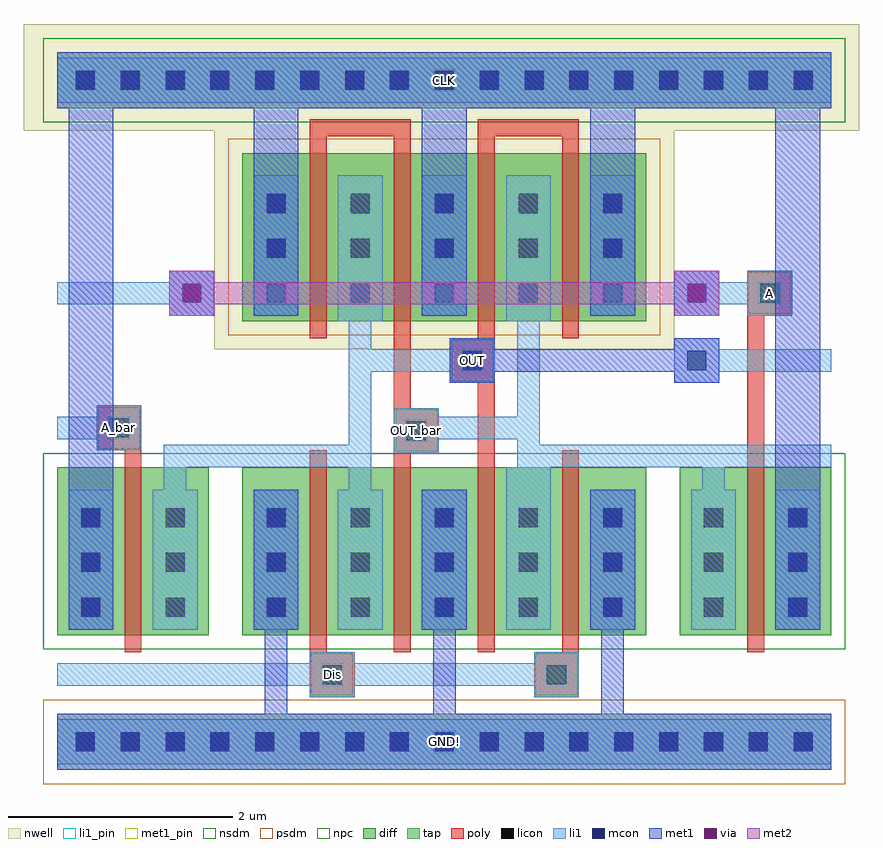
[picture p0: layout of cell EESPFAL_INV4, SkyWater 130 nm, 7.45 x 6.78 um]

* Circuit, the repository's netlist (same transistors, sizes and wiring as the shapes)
* NGSPICE file created from EESPFAL_INV4.ext - technology: sky130A

.subckt EESPFAL_INV4 OUT_bar A A_bar Dis OUT GND CLK
X0 OUT A_bar CLK GND sky130_fd_pr__nfet_01v8 ad=1.8e+12p pd=8.4e+06u as=5.25e+12p ps=2.32e+07u w=1.5e+06u l=150000u
X1 CLK OUT OUT_bar CLK sky130_fd_pr__pfet_01v8 ad=2.7e+12p pd=1.26e+07u as=9e+11p ps=4.2e+06u w=1.5e+06u l=150000u M=2
X2 GND Dis OUT_bar GND sky130_fd_pr__nfet_01v8 ad=2.7e+12p pd=1.26e+07u as=1.8e+12p ps=8.4e+06u w=1.5e+06u l=150000u
X3 GND OUT_bar OUT GND sky130_fd_pr__nfet_01v8 ad=0p pd=0u as=0p ps=0u w=1.5e+06u l=150000u
X4 CLK OUT_bar OUT CLK sky130_fd_pr__pfet_01v8 ad=0p pd=0u as=9e+11p ps=4.2e+06u w=1.5e+06u l=150000u M=2
X5 OUT_bar OUT GND GND sky130_fd_pr__nfet_01v8 ad=0p pd=0u as=0p ps=0u w=1.5e+06u l=150000u
X6 CLK A OUT_bar GND sky130_fd_pr__nfet_01v8 ad=0p pd=0u as=0p ps=0u w=1.5e+06u l=150000u
X7 OUT Dis GND GND sky130_fd_pr__nfet_01v8 ad=0p pd=0u as=0p ps=0u w=1.5e+06u l=150000u
.ends

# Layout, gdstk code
import gdstk
lib = gdstk.Library(unit=1e-6, precision=1e-09)
def R(c, l, rs):  # rectangles x0, y0, x1, y1
    for r in rs: c.add(gdstk.rectangle(r[:2], r[2:], *l))
def A(c, l, x, y, w, h, nx, ny, dx, dy):  # array of equal rectangles
    R(c, l, [(x+i*dx, y+j*dy, x+i*dx+w, y+j*dy+h) for i in range(nx) for j in range(ny)])
nwell = (64, 20)
diff = (65, 20)
tap = (65, 44)
poly = (66, 20)
licon = (66, 44)
li1_pin = (67, 16)
li1 = (67, 20)
mcon = (67, 44)
met1_pin = (68, 16)
met1 = (68, 20)
via = (68, 44)
met2 = (69, 20)
nsdm = (93, 44)
psdm = (94, 20)
npc = (95, 20)

eespfal_inv4 = lib.new_cell('EESPFAL_INV4')
R(eespfal_inv4, nwell, [(-15.25,6.85,-11.15,8.8), (-16.95,8.8,-9.5,9.75)])
R(eespfal_inv4, diff, [(-16.65,4.3,-15.3,5.8), (-15,4.3,-11.4,5.8), (-11.1,4.3,-9.75,5.8), (-15,7.1,-11.4,8.6)])
R(eespfal_inv4, tap, [(-16.65,3.1,-9.75,3.6), (-16.65,9,-9.75,9.5)])
R(eespfal_inv4, poly, [(-14.4,3.75,-14,4.15), (-12.4,3.75,-12,4.15), (-16.05,4.15,-15.9,5.95), (-14.4,4.15,-14.25,5.95), (-13.65,4.15,-13.5,5.95), (-12.9,4.15,-12.75,6.55), (-12.15,4.15,-12,5.95), (-10.5,4.15,-10.35,7.15), (-13.65,5.925,-13.25,6.325), (-16.3,5.95,-15.9,6.35), (-13.65,6.325,-13.5,6.35), (-13.65,6.35,-13.5,8.75), (-13.15,6.55,-12.75,6.95), (-14.4,6.95,-14.25,8.75), (-12.9,6.95,-12.75,8.75), (-12.15,6.95,-12,8.75), (-10.5,7.15,-10.1,7.55), (-14.4,8.75,-13.5,8.9), (-12.9,8.75,-12,8.9)])
A(eespfal_inv4, licon, -16.485, 3.265, 0.17, 0.17, 17, 2, 0.4, 5.9)
A(eespfal_inv4, licon, -16.435, 4.465, 0.17, 0.17, 1, 3, 0, 0.4)
A(eespfal_inv4, licon, -15.685, 4.465, 0.17, 0.17, 1, 3, 0, 0.4)
A(eespfal_inv4, licon, -14.785, 4.465, 0.17, 0.17, 5, 3, 0.75, 0.4)
A(eespfal_inv4, licon, -10.885, 4.465, 0.17, 0.17, 1, 3, 0, 0.4)
A(eespfal_inv4, licon, -10.135, 4.465, 0.17, 0.17, 1, 3, 0, 0.4)
A(eespfal_inv4, licon, -14.785, 7.265, 0.17, 0.17, 5, 3, 0.75, 0.4)
R(eespfal_inv4, licon, [(-14.285,3.865,-14.115,4.035), (-12.285,3.865,-12.115,4.035), (-13.535,6.04,-13.365,6.21), (-16.185,6.065,-16.015,6.235), (-13.035,6.665,-12.865,6.835), (-10.385,7.265,-10.215,7.435)])
R(eespfal_inv4, li1_pin, [(-14.3,3.85,-14.1,4.05), (-13.55,6.025,-13.35,6.225), (-16.2,6.05,-16,6.25), (-10.4,7.25,-10.2,7.45)])
A(eespfal_inv4, li1, -14.9, 4.35, 0.4, 1.25, 3, 1, 0.75, 0)
A(eespfal_inv4, li1, -11.15, 6.55, 0.4, 0.1, 1, 4, 0, 0.3)
A(eespfal_inv4, li1, -14.9, 7.15, 0.4, 1.25, 3, 1, 1.5, 0)
R(eespfal_inv4, li1, [(-16.65,3.15,-9.75,3.55), (-14.4,3.75,-14,3.85), (-12.4,3.75,-12,3.85), (-16.65,3.85,-12,4.05), (-14.4,4.05,-14,4.15), (-12.4,4.05,-12,4.15), (-16.55,4.35,-16.15,5.6), (-15.8,4.35,-15.4,5.6), (-12.65,4.35,-12.25,5.8), (-11.9,4.35,-11.5,5.6), (-11,4.35,-10.6,5.6), (-10.25,4.35,-9.85,5.6), (-15.7,5.6,-15.5,5.8), (-10.9,5.6,-10.7,5.8), (-15.7,5.8,-13.85,6), (-12.55,5.8,-9.75,6), (-13.65,5.925,-13.25,6.025), (-13.65,5.925,-13.25,6.05), (-16.3,5.95,-15.9,6.05), (-14.05,6,-13.85,6.65), (-12.55,6,-12.35,6.05), (-16.65,6.05,-15.9,6.25), (-13.65,6.05,-12.35,6.25), (-13.65,6.225,-13.25,6.325), (-16.3,6.25,-15.9,6.35), (-12.55,6.25,-12.35,7.1), (-13.15,6.55,-12.75,6.65), (-14.05,6.65,-12.75,6.85), (-11.15,6.65,-9.75,6.85), (-14.05,6.85,-13.85,7.1), (-13.15,6.85,-12.75,6.95), (-14.15,7.1,-13.75,8.4), (-12.65,7.1,-12.25,8.4), (-15.65,7.15,-15.25,7.25), (-10.5,7.15,-10.1,7.25), (-16.65,7.25,-15.25,7.45), (-11.15,7.25,-10.1,7.45), (-15.65,7.45,-15.25,7.55), (-10.5,7.45,-10.1,7.55), (-16.65,9.05,-9.75,9.45)])
A(eespfal_inv4, mcon, -16.485, 3.265, 0.17, 0.17, 17, 2, 0.4, 5.9)
A(eespfal_inv4, mcon, -16.435, 4.465, 0.17, 0.17, 1, 3, 0, 0.4)
A(eespfal_inv4, mcon, -14.785, 4.465, 0.17, 0.17, 3, 3, 1.5, 0.4)
A(eespfal_inv4, mcon, -10.135, 4.465, 0.17, 0.17, 1, 3, 0, 0.4)
A(eespfal_inv4, mcon, -14.785, 7.265, 0.17, 0.17, 3, 3, 1.5, 0.4)
R(eespfal_inv4, mcon, [(-13.035,6.665,-12.865,6.835), (-11.035,6.665,-10.865,6.835), (-15.535,7.265,-15.365,7.435), (-11.035,7.265,-10.865,7.435)])
R(eespfal_inv4, met1_pin, [(-13.3,3.25,-13.1,3.45), (-13.05,6.65,-12.85,6.85), (-13.3,9.15,-13.1,9.35)])
A(eespfal_inv4, met1, -14.8, 3.6, 0.2, 0.75, 3, 1, 1.5, 0)
A(eespfal_inv4, met1, -14.9, 4.35, 0.4, 1.25, 3, 1, 1.5, 0)
A(eespfal_inv4, met1, -14.9, 7.15, 0.4, 1.85, 3, 1, 1.5, 0)
R(eespfal_inv4, met1, [(-16.65,3.1,-9.75,3.6), (-16.55,4.35,-16.15,9), (-10.25,4.35,-9.85,9), (-13.15,6.55,-12.75,6.65), (-11.15,6.55,-10.75,6.65), (-13.15,6.65,-10.75,6.85), (-13.15,6.85,-12.75,6.95), (-11.15,6.85,-10.75,6.95), (-15.65,7.15,-15.25,7.55), (-11.15,7.15,-10.75,7.55), (-16.65,9,-9.75,9.5)])
R(eespfal_inv4, via, [(-15.525,7.275,-15.375,7.425), (-11.025,7.275,-10.875,7.425)])
R(eespfal_inv4, met2, [(-15.65,7.15,-15.25,7.25), (-11.15,7.15,-10.75,7.25), (-15.65,7.25,-10.75,7.45), (-15.65,7.45,-15.25,7.55), (-11.15,7.45,-10.75,7.55)])
R(eespfal_inv4, nsdm, [(-16.775,4.175,-9.625,5.925), (-16.775,8.875,-9.625,9.625)])
R(eespfal_inv4, psdm, [(-16.775,2.975,-9.625,3.725), (-15.125,6.975,-11.275,8.725)])
R(eespfal_inv4, npc, [(-14.385,3.765,-14.015,4.135), (-12.385,3.765,-12.015,4.135), (-13.635,5.94,-13.265,6.31), (-16.285,5.965,-15.915,6.335), (-13.135,6.565,-12.765,6.935), (-10.485,7.165,-10.115,7.535)])
eespfal_inv4.add(gdstk.FlexPath([(-13.95,5.6),(-13.95,5.8)], 0.2, ends="flush", simple_path=True, layer=67, datatype=20))  # li1
eespfal_inv4.add(gdstk.Label('OUT_bar', (-13.45,6.125), layer=67, texttype=16))
eespfal_inv4.add(gdstk.Label('A', (-10.3,7.35), layer=67, texttype=16))
eespfal_inv4.add(gdstk.Label('A_bar', (-16.1,6.15), layer=67, texttype=16))
eespfal_inv4.add(gdstk.Label('Dis', (-14.2,3.95), layer=67, texttype=16))
eespfal_inv4.add(gdstk.Label('OUT', (-12.95,6.75), layer=68, texttype=16))
eespfal_inv4.add(gdstk.Label('GND!', (-13.2,3.35), layer=68, texttype=16))
eespfal_inv4.add(gdstk.Label('CLK', (-13.2,9.25), layer=68, texttype=16))

lib.write_gds('EESPFAL_INV4.gds')
